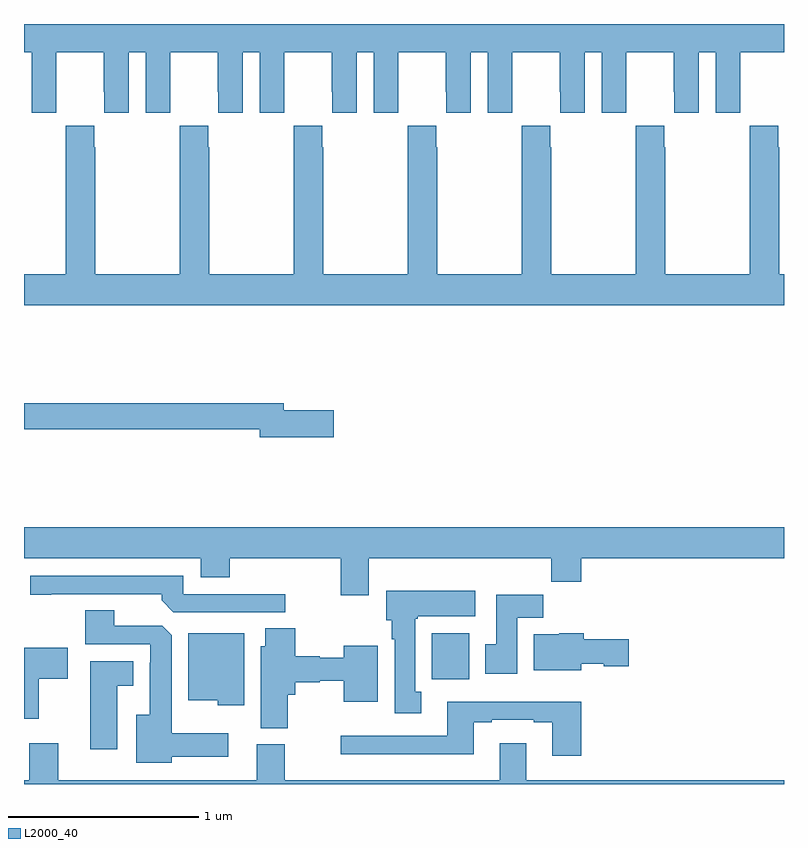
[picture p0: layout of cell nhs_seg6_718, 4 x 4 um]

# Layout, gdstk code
import gdstk
lib = gdstk.Library(unit=1e-6, precision=1e-09)
def R(c, l, rs):  # rectangles x0, y0, x1, y1
    for r in rs: c.add(gdstk.rectangle(r[:2], r[2:], *l))
def P(c, l, *ps):  # polygons
    for p in ps: c.add(gdstk.Polygon(p, *l))
L2000_40 = (2000, 40)

nhs_seg6_718 = lib.new_cell('nhs_seg6_718')
R(nhs_seg6_718, L2000_40, [(159.146,928.052,159.343,928.294)])
P(nhs_seg6_718, L2000_40, [(157,931.352),(157.04,931.352),(157.04,931.032),(157.17,931.032),(157.17,931.144),(157.171,931.144),(157.171,931.352),(157.421,931.352),(157.421,931.144),(157.422,931.144),(157.422,931.032),(157.552,931.032),(157.552,931.352),(157.64,931.352),(157.64,931.032),(157.77,931.032),(157.77,931.144),(157.771,931.144),(157.771,931.352),(158.021,931.352),(158.021,931.144),(158.022,931.144),(158.022,931.032),(158.152,931.032),(158.152,931.352),(158.24,931.352),(158.24,931.032),(158.37,931.032),(158.37,931.144),(158.371,931.144),(158.371,931.352),(158.621,931.352),(158.621,931.144),(158.622,931.144),(158.622,931.032),(158.752,931.032),(158.752,931.352),(158.84,931.352),(158.84,931.032),(158.97,931.032),(158.97,931.144),(158.971,931.144),(158.971,931.352),(159.221,931.352),(159.221,931.144),(159.222,931.144),(159.222,931.032),(159.352,931.032),(159.352,931.352),(159.44,931.352),(159.44,931.032),(159.57,931.032),(159.57,931.144),(159.571,931.144),(159.571,931.352),(159.821,931.352),(159.821,931.144),(159.822,931.144),(159.822,931.032),(159.952,931.032),(159.952,931.352),(160.04,931.352),(160.04,931.032),(160.17,931.032),(160.17,931.144),(160.171,931.144),(160.171,931.352),(160.421,931.352),(160.421,931.144),(160.422,931.144),(160.422,931.032),(160.552,931.032),(160.552,931.352),(160.64,931.352),(160.64,931.032),(160.77,931.032),(160.77,931.144),(160.771,931.144),(160.771,931.352),(161,931.352),(161,931.5),(157,931.5)],
  [(161,930.184),(160.974,930.184),(160.974,930.851),(160.971,930.851),(160.971,930.964),(160.821,930.964),(160.821,930.851),(160.819,930.851),(160.819,930.184),(160.374,930.184),(160.374,930.851),(160.371,930.851),(160.371,930.964),(160.221,930.964),(160.221,930.851),(160.219,930.851),(160.219,930.184),(159.774,930.184),(159.774,930.851),(159.771,930.851),(159.771,930.964),(159.621,930.964),(159.621,930.851),(159.619,930.851),(159.619,930.184),(159.174,930.184),(159.174,930.851),(159.171,930.851),(159.171,930.964),(159.021,930.964),(159.021,930.851),(159.019,930.851),(159.019,930.184),(158.574,930.184),(158.574,930.851),(158.571,930.851),(158.571,930.964),(158.421,930.964),(158.421,930.851),(158.419,930.851),(158.419,930.184),(157.974,930.184),(157.974,930.851),(157.971,930.851),(157.971,930.964),(157.821,930.964),(157.821,930.851),(157.819,930.851),(157.819,930.184),(157.374,930.184),(157.374,930.851),(157.371,930.851),(157.371,930.964),(157.221,930.964),(157.221,930.851),(157.219,930.851),(157.219,930.184),(157,930.184),(157,930.02),(161,930.02)],
  [(158.629,929.468),(158.368,929.468),(158.368,929.504),(157,929.504),(157,929.368),(158.24,929.368),(158.24,929.326),(158.629,929.326)],
  [(158.815,928.688),(159.775,928.688),(159.775,928.564),(159.932,928.564),(159.932,928.688),(161,928.688),(161,928.852),(157,928.852),(157,928.688),(157.931,928.688),(157.931,928.589),(158.084,928.589),(158.084,928.688),(158.668,928.688),(158.668,928.494),(158.815,928.494)],
  [(158.374,928.5),(157.839,928.5),(157.839,928.596),(157.032,928.596),(157.032,928.495),(157.144,928.495),(157.144,928.5),(157.724,928.5),(157.724,928.466),(157.785,928.404),(158.374,928.404)],
  [(159.091,927.986),(159.058,927.986),(159.058,928.369),(159.072,928.369),(159.072,928.382),(159.376,928.382),(159.376,928.516),(158.906,928.516),(158.906,928.362),(158.936,928.362),(158.936,928.262),(158.951,928.262),(158.951,927.873),(159.091,927.873)],
  [(159.595,928.376),(159.734,928.376),(159.734,928.495),(159.485,928.495),(159.485,928.236),(159.428,928.236),(159.428,928.08),(159.595,928.08)],
  [(157.777,927.644),(158.074,927.644),(158.074,927.766),(157.777,927.766),(157.777,928.283),(157.728,928.332),(157.474,928.332),(157.474,928.415),(157.322,928.415),(157.322,928.236),(157.665,928.236),(157.665,928.139),(157.661,928.139),(157.661,927.865),(157.592,927.865),(157.592,927.611),(157.777,927.611)],
  [(158.388,927.971),(158.428,927.971),(158.428,928.036),(158.556,928.036),(158.556,928.044),(158.684,928.044),(158.684,927.932),(158.863,927.932),(158.863,928.228),(158.684,928.228),(158.684,928.165),(158.556,928.165),(158.556,928.172),(158.428,928.172),(158.428,928.319),(158.27,928.319),(158.27,928.224),(158.246,928.224),(158.246,927.793),(158.388,927.793)],
  [(158.158,928.294),(157.865,928.294),(157.865,927.941),(158.019,927.941),(158.019,927.914),(158.158,927.914)],
  [(159.934,928.133),(160.05,928.133),(160.05,928.121),(160.183,928.121),(160.183,928.263),(159.947,928.263),(159.947,928.294),(159.816,928.294),(159.816,928.288),(159.683,928.288),(159.683,928.1),(159.934,928.1)],
  [(157.078,928.054),(157.231,928.054),(157.231,928.216),(157,928.216),(157,927.843),(157.078,927.843)],
  [(157.492,928.016),(157.576,928.016),(157.576,928.147),(157.349,928.147),(157.349,927.684),(157.492,927.684)],
  [(159.932,927.934),(159.227,927.934),(159.227,927.753),(158.667,927.753),(158.667,927.656),(159.367,927.656),(159.367,927.825),(159.463,927.825),(159.463,927.837),(159.683,927.837),(159.683,927.825),(159.779,927.825),(159.779,927.648),(159.932,927.648)],
  [(161,927.52),(159.643,927.52),(159.643,927.715),(159.503,927.715),(159.503,927.52),(158.373,927.52),(158.373,927.708),(158.225,927.708),(158.225,927.52),(157.18,927.52),(157.18,927.715),(157.028,927.715),(157.028,927.52),(157,927.52),(157,927.5),(161,927.5)])

lib.write_gds('nhs_seg6_718.gds')
